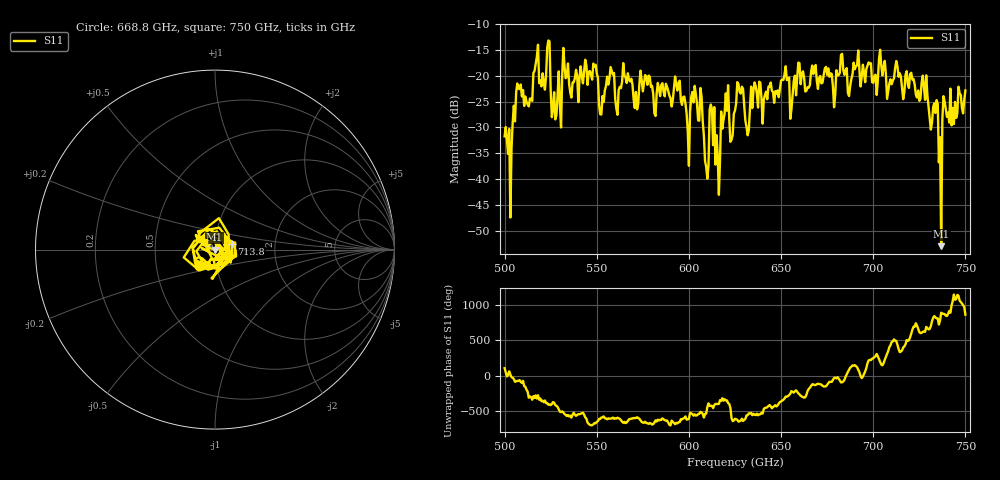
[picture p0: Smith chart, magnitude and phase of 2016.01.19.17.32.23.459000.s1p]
!Created with skrf (http://scikit-rf.org).
# GHz S RI R 50.0
!freq ReS11 ImS11
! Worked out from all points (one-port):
!   401 points, 500 GHz to 750 GHz, reference 50 ohm
!   lowest |S11| = -53.0 dB at 736.9 GHz (marker M1), VSWR 1.00, Z = 49.8 + j0.0253 ohm
!   |S11| at or under -10 dB: start of sweep to end of sweep
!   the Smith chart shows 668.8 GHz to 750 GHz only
!   S11 on the Smith chart (normalised r, x): 668.8 GHz: 0.82, -0.15; 713.8 GHz: 1.20, +0.08; 750 GHz: 0.88, +0.07
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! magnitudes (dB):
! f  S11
! 500 GHz  -31.7
! 502.5 GHz  -30.3
! 507.5 GHz  -22.4
! 513.8 GHz  -24.4
! 516.9 GHz  -17.6
! 520.6 GHz  -19.5
! 523.8 GHz  -13.1
! 526.9 GHz  -23.2
! 531.2 GHz  -19.9
! 562.5 GHz  -22.1
! 593.8 GHz  -22.8
! 599.4 GHz  -30.7
! 605.6 GHz  -28.7
! 609.4 GHz  -37.7
! 612.5 GHz  -26.4
! 615.6 GHz  -35.4
! 620 GHz  -23.4
! 623.1 GHz  -32.4
! 625 GHz  -26.7
! 656.2 GHz  -23.8
! 668.8 GHz  -17.9
! 687.5 GHz  -21.9
! 713.8 GHz  -20.2
! 718.8 GHz  -21.6
! 733.8 GHz  -27.2
! 736.9 GHz  -53.0
! 738.8 GHz  -25.0
! 750 GHz  -22.8
